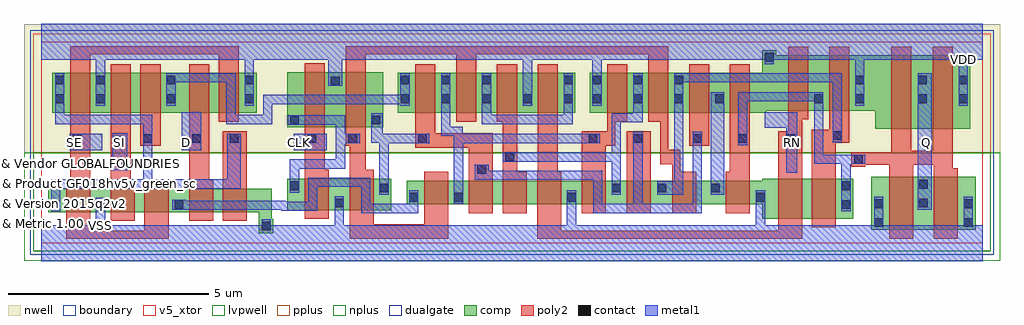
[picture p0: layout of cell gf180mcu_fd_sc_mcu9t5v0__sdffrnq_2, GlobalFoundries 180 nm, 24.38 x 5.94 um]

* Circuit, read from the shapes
.subckt gf180mcu_fd_sc_mcu9t5v0__sdffrnq_2 CLK D Q RN SE SI VDD VSS
XM1 VSS SE n1 VSUBS nfet_05v0 w=0.59u l=0.6u
XM2 n2 SI VSS VSUBS nfet_05v0 w=0.59u l=0.6u
XM3 n3 SE n2 VSUBS nfet_05v0 w=0.59u l=0.6u
XM4 n4 D n3 VSUBS nfet_05v0 w=0.59u l=0.6u
XM5 VSS n1 n4 VSUBS nfet_05v0 w=0.59u l=0.6u
XM6 VSS CLK n5 VSUBS nfet_05v0 w=0.79u l=0.6u
XM7 n6 n5 VSS VSUBS nfet_05v0 w=0.79u l=0.6u
XM8 n7 n5 n3 VSUBS nfet_05v0 w=0.59u l=0.6u
XM9 n8 n6 n7 VSUBS nfet_05v0 w=0.59u l=0.6u
XM10 n9 n10 n8 VSUBS nfet_05v0 w=0.59u l=0.6u
XM11 VSS RN n9 VSUBS nfet_05v0 w=0.59u l=0.6u
XM12 n10 n7 VSS VSUBS nfet_05v0 w=0.59u l=0.6u
XM13 n11 n6 n10 VSUBS nfet_05v0 w=0.59u l=0.6u
XM14 n12 n5 n11 VSUBS nfet_05v0 w=0.59u l=0.6u
XM15 VSS n13 n12 VSUBS nfet_05v0 w=0.59u l=0.6u
XM16 n14 RN VSS VSUBS nfet_05v0 w=1u l=0.6u
XM17 n13 n11 n14 VSUBS nfet_05v0 w=1u l=0.6u
XM18 Q n13 VSS VSUBS nfet_05v0 w=1.32u l=0.6u m=2
XM19 VDD SE n1 n15 pfet_05v0 w=1u l=0.5u
XM20 n16 SI VDD n15 pfet_05v0 w=1u l=0.5u
XM21 n17 n1 n16 n15 pfet_05v0 w=1u l=0.5u
XM22 n18 D n17 n15 pfet_05v0 w=1u l=0.5u
XM23 VDD SE n18 n15 pfet_05v0 w=1u l=0.5u
XM24 VDD CLK n5 n15 pfet_05v0 w=1.38u l=0.5u
XM25 n6 n5 VDD n15 pfet_05v0 w=1.38u l=0.5u
XM26 n7 n6 n17 n15 pfet_05v0 w=1u l=0.5u
XM27 n19 n5 n7 n15 pfet_05v0 w=1u l=0.5u
XM28 VDD n10 n19 n15 pfet_05v0 w=1u l=0.5u
XM29 n19 RN VDD n15 pfet_05v0 w=1u l=0.5u
XM30 n10 n7 VDD n15 pfet_05v0 w=1u l=0.5u
XM31 n11 n5 n10 n15 pfet_05v0 w=1u l=0.5u
XM32 n12 n6 n11 n15 pfet_05v0 w=1u l=0.5u
XM33 VDD n13 n12 n15 pfet_05v0 w=1u l=0.5u
XM34 n13 RN VDD n15 pfet_05v0 w=1.38u l=0.5u
XM35 VDD n11 n13 n15 pfet_05v0 w=1.38u l=0.5u
XM36 Q n13 VDD n15 pfet_05v0 w=1.83u l=0.5u m=2
.ends

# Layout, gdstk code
import gdstk
lib = gdstk.Library(unit=1e-6, precision=1e-09)
def R(c, l, rs):  # rectangles x0, y0, x1, y1
    for r in rs: c.add(gdstk.rectangle(r[:2], r[2:], *l))
def A(c, l, x, y, w, h, nx, ny, dx, dy):  # array of equal rectangles
    R(c, l, [(x+i*dx, y+j*dy, x+i*dx+w, y+j*dy+h) for i in range(nx) for j in range(ny)])
def P(c, l, *ps):  # polygons
    for p in ps: c.add(gdstk.Polygon(p, *l))
boundary = (0, 0)
nwell = (21, 0)
comp = (22, 0)
poly2 = (30, 0)
pplus = (31, 0)
nplus = (32, 0)
contact = (33, 0)
metal1 = (34, 0)
dualgate = (55, 0)
v5_xtor = (112, 1)
lvpwell = (204, 0)

gf180mcu_fd_sc_mcu9t5v0_ = lib.new_cell('gf180mcu_fd_sc_mcu9t5v0__sdffrnq_2')
R(gf180mcu_fd_sc_mcu9t5v0_, boundary, [(0,0,23.52,5.04)])
R(gf180mcu_fd_sc_mcu9t5v0_, nwell, [(-0.43,2.265,23.95,5.47)])
R(gf180mcu_fd_sc_mcu9t5v0_, comp, [(20.74,0.34,23.34,1.66), (6.145,0.83,8.745,1.62), (6.145,2.9,8.545,4.28), (0.28,3.26,5.38,4.26), (8.905,3.26,13.345,4.26)])
P(gf180mcu_fd_sc_mcu9t5v0_, comp, [(5.44,0.255),(5.44,0.78),(0.18,0.78),(0.18,1.37),(5.76,1.37),(5.76,0.61),(5.8,0.61),(5.8,0.255)],
  [(18.005,0.62),(18.005,0.975),(9.125,0.975),(9.125,1.565),(18.005,1.565),(18.005,1.62),(20.285,1.62),(20.285,0.62)],
  [(20.83,2.865),(20.83,3.315),(18.105,3.315),(18.105,3.26),(13.705,3.26),(13.705,4.26),(18.005,4.26),(18.005,4.83),(18.365,4.83),(18.365,4.695),(23.21,4.695),(23.21,2.865)])
R(gf180mcu_fd_sc_mcu9t5v0_, poly2, [(4.54,0.56,5.14,2.8), (14.625,0.755,15.225,2.8), (2.48,2.44,2.98,4.48), (16.185,2.44,16.685,4.48)])
P(gf180mcu_fd_sc_mcu9t5v0_, poly2, [(1.74,0.56),(1.74,4.48),(2.24,4.48),(2.24,1.59),(2.34,1.59),(2.34,0.56)],
  [(3.7,0.56),(3.7,4.48),(4.2,4.48),(4.2,1.59),(4.3,1.59),(4.3,0.56)],
  [(0.62,0.12),(0.62,1.59),(0.72,1.59),(0.72,4.92),(4.94,4.92),(4.94,3.04),(4.44,3.04),(4.44,4.72),(1.22,4.72),(1.22,0.32),(2.58,0.32),(2.58,1.59),(3.18,1.59),(3.18,0.12)],
  [(6.585,0.61),(6.585,4.5),(7.085,4.5),(7.085,1.84),(7.185,1.84),(7.185,0.61)],
  [(10.685,0.755),(10.685,2.39),(9.345,2.39),(9.345,4.48),(9.845,4.48),(9.845,2.75),(11.285,2.75),(11.285,0.755)],
  [(11.525,0.755),(11.525,3.04),(11.385,3.04),(11.385,4.48),(11.885,4.48),(11.885,1.785),(12.125,1.785),(12.125,0.755)],
  [(13.505,0.755),(13.505,2.8),(14.145,2.8),(14.145,4.48),(14.645,4.48),(14.645,3.04),(14.345,3.04),(14.345,2.44),(14.105,2.44),(14.105,0.755)],
  [(7.705,0.12),(7.705,2.44),(7.605,2.44),(7.605,4.92),(15.665,4.92),(15.665,2.34),(15.965,2.34),(15.965,1.785),(16.365,1.785),(16.365,0.755),(15.765,0.755),(15.765,1.98),(15.465,1.98),(15.465,3.04),(15.165,3.04),(15.165,4.72),(10.865,4.72),(10.865,3.04),(10.365,3.04),(10.365,4.72),(8.105,4.72),(8.105,1.84),(8.305,1.84),(8.305,0.48),(9.565,0.48),(9.565,1.785),(10.165,1.785),(10.165,0.12)],
  [(17.105,0.755),(17.105,1.785),(17.205,1.785),(17.205,4.48),(17.705,4.48),(17.705,0.755)],
  [(12.385,0.12),(12.385,1.785),(12.405,1.785),(12.405,4.48),(12.905,4.48),(12.905,1.785),(12.985,1.785),(12.985,0.32),(18.405,0.32),(18.405,2.8),(18.665,2.8),(18.665,4.915),(19.165,4.915),(19.165,3.095),(19.005,3.095),(19.005,0.12)],
  [(19.245,0.4),(19.245,2.84),(19.685,2.84),(19.685,4.915),(20.185,4.915),(20.185,2.515),(19.845,2.515),(19.845,0.4)],
  [(21.18,0.12),(21.18,1.96),(20.59,1.96),(20.59,1.92),(20.235,1.92),(20.235,2.28),(21.23,2.28),(21.23,4.915),(21.73,4.915),(21.73,2.32),(22.27,2.32),(22.27,4.915),(22.77,4.915),(22.77,1.88),(22.9,1.88),(22.9,0.12),(22.3,0.12),(22.3,1.96),(21.78,1.96),(21.78,0.12)])
R(gf180mcu_fd_sc_mcu9t5v0_, pplus, [(-0.2,2.265,23.72,5.24)])
R(gf180mcu_fd_sc_mcu9t5v0_, nplus, [(-0.2,-0.2,23.72,2.265)])
A(gf180mcu_fd_sc_mcu9t5v0_, contact, 8.975, 3.5, 0.22, 0.22, 5, 1, 1.02, 0)
A(gf180mcu_fd_sc_mcu9t5v0_, contact, 13.775, 3.5, 0.22, 0.22, 4, 1, 1.02, 0)
A(gf180mcu_fd_sc_mcu9t5v0_, contact, 8.975, 3.97, 0.22, 0.22, 3, 1, 1.02, 0)
A(gf180mcu_fd_sc_mcu9t5v0_, contact, 13.775, 3.97, 0.22, 0.22, 3, 1, 1.02, 0)
R(gf180mcu_fd_sc_mcu9t5v0_, contact, [(5.51,0.325,5.73,0.545), (20.81,0.41,21.03,0.63), (23.05,0.41,23.27,0.63), (0.25,0.86,0.47,1.08), (1.37,0.86,1.59,1.08), (3.33,0.86,3.55,1.08), (19.995,0.86,20.215,1.08), (20.81,0.88,21.03,1.1), (23.05,0.88,23.27,1.1), (7.335,0.9,7.555,1.12), (21.93,0.9,22.15,1.12), (9.195,1.045,9.415,1.265), (10.315,1.045,10.535,1.265), (13.135,1.045,13.355,1.265), (17.855,1.045,18.075,1.265), (8.455,1.275,8.675,1.495), (14.255,1.275,14.475,1.495), (15.395,1.275,15.615,1.495), (16.735,1.275,16.955,1.495), (6.215,1.33,6.435,1.55), (19.995,1.33,20.215,1.55), (21.93,1.37,22.15,1.59), (10.895,1.735,11.115,1.955), (20.305,1.99,20.525,2.21), (11.595,2.05,11.815,2.27), (1.81,2.47,2.03,2.69), (0.79,2.51,1.01,2.73), (2.55,2.51,2.77,2.73), (3.77,2.51,3.99,2.73), (4.71,2.51,4.93,2.73), (6.655,2.51,6.875,2.73), (7.675,2.51,7.895,2.73), (9.415,2.51,9.635,2.73), (13.675,2.51,13.895,2.73), (14.795,2.51,15.015,2.73), (16.275,2.51,16.495,2.73), (17.415,2.51,17.635,2.73), (18.615,2.51,18.835,2.73), (19.775,2.585,19.995,2.805), (6.215,2.97,6.435,3.19), (8.255,2.97,8.475,3.19), (0.35,3.5,0.57,3.72), (1.37,3.5,1.59,3.72), (3.13,3.5,3.35,3.72), (5.09,3.5,5.31,3.72), (19.315,3.5,19.535,3.72), (20.335,3.5,20.555,3.72), (21.9,3.5,22.12,3.72), (22.92,3.5,23.14,3.72), (7.235,3.945,7.455,4.165), (0.35,3.97,0.57,4.19), (1.37,3.97,1.59,4.19), (3.13,3.97,3.35,4.19), (5.09,3.97,5.31,4.19), (13.055,3.97,13.275,4.19), (20.335,3.97,20.555,4.19), (21.9,3.97,22.12,4.19), (22.92,3.97,23.14,4.19), (18.075,4.54,18.295,4.76)])
R(gf180mcu_fd_sc_mcu9t5v0_, metal1, [(21.895,0.84,22.25,4.25), (16.73,1.215,17.06,3.78), (1.77,1.83,2.15,2.75), (0.71,2.33,1.53,2.735), (3.51,2.33,3.995,3.27), (6.31,2.33,7.13,2.735)])
P(gf180mcu_fd_sc_mcu9t5v0_, metal1, [(0.245,0.8),(0.245,1.6),(2.545,1.6),(2.545,2.98),(0.345,2.98),(0.345,4.25),(0.575,4.25),(0.575,3.21),(2.775,3.21),(2.775,1.6),(4.65,1.6),(4.65,2.735),(4.99,2.735),(4.99,1.37),(0.475,1.37),(0.475,0.8)],
  [(6.21,1.27),(6.21,2.1),(7.36,2.1),(7.36,2.965),(6.155,2.965),(6.155,3.195),(7.59,3.195),(7.59,2.735),(7.955,2.735),(7.955,2.505),(7.59,2.505),(7.59,1.87),(6.44,1.87),(6.44,1.27)],
  [(4.625,2.98),(4.625,4.02),(3.355,4.02),(3.355,3.44),(3.125,3.44),(3.125,4.25),(4.855,4.25),(4.855,3.21),(5.545,3.21),(5.545,3.71),(8.97,3.71),(8.97,4.25),(9.2,4.25),(9.2,3.44),(8.97,3.44),(8.97,3.48),(5.775,3.48),(5.775,2.98)],
  [(7.99,0.755),(7.99,1.41),(6.9,1.41),(6.9,0.81),(6,0.81),(6,0.835),(3.27,0.835),(3.27,1.085),(3.61,1.085),(3.61,1.065),(6.105,1.065),(6.105,1.04),(6.67,1.04),(6.67,1.64),(8.22,1.64),(8.22,0.985),(9.19,0.985),(9.19,1.325),(9.42,1.325),(9.42,0.755)],
  [(8.45,1.215),(8.45,2.52),(8.25,2.52),(8.25,3.25),(8.535,3.25),(8.535,2.735),(9.695,2.735),(9.695,2.505),(8.68,2.505),(8.68,1.215)],
  [(11.01,2.98),(11.01,4.25),(11.24,4.25),(11.24,3.21),(13.05,3.21),(13.05,4.25),(13.28,4.25),(13.28,2.98)],
  [(10.31,0.985),(10.31,2.685),(9.99,2.685),(9.99,4.25),(10.22,4.25),(10.22,2.915),(10.535,2.915),(10.535,2.735),(13.955,2.735),(13.955,2.505),(10.54,2.505),(10.54,0.985)],
  [(14.25,1.215),(14.25,2.045),(11.535,2.045),(11.535,2.275),(14.25,2.275),(14.25,3.25),(14.79,3.25),(14.79,4.25),(15.02,4.25),(15.02,3.02),(14.48,3.02),(14.48,1.215)],
  [(13.79,0.755),(13.79,1.585),(10.835,1.585),(10.835,1.96),(11.175,1.96),(11.175,1.815),(14.02,1.815),(14.02,0.985),(14.79,0.985),(14.79,2.79),(15.02,2.79),(15.02,0.985),(16.27,0.985),(16.27,2.79),(16.5,2.79),(16.5,0.755)],
  [(18.61,1.77),(18.61,2.89),(18.07,2.89),(18.07,3.27),(18.89,3.27),(18.89,1.77)],
  [(15.39,1.215),(15.39,1.555),(15.81,1.555),(15.81,4.25),(20,4.25),(20,2.525),(19.77,2.525),(19.77,4.02),(16.04,4.02),(16.04,1.215)],
  [(19.99,0.8),(19.99,1.985),(19.31,1.985),(19.31,3.55),(17.64,3.55),(17.64,2.45),(17.41,2.45),(17.41,3.78),(19.54,3.78),(19.54,2.215),(20.585,2.215),(20.585,1.985),(20.22,1.985),(20.22,0.8)],
  [(0,-0.45),(0,0.45),(1.365,0.45),(1.365,1.14),(1.595,1.14),(1.595,0.45),(5.505,0.45),(5.505,0.605),(5.735,0.605),(5.735,0.45),(7.33,0.45),(7.33,1.18),(7.56,1.18),(7.56,0.45),(13.13,0.45),(13.13,1.325),(13.36,1.325),(13.36,0.45),(17.85,0.45),(17.85,1.325),(18.08,1.325),(18.08,0.45),(20.805,0.45),(20.805,1.16),(21.035,1.16),(21.035,0.45),(23.045,0.45),(23.045,1.16),(23.275,1.16),(23.275,0.45),(23.52,0.45),(23.52,-0.45)],
  [(1.365,3.44),(1.365,4.59),(0,4.59),(0,5.49),(23.52,5.49),(23.52,4.59),(23.145,4.59),(23.145,3.44),(22.915,3.44),(22.915,4.59),(20.56,4.59),(20.56,3.44),(20.33,3.44),(20.33,4.59),(18.3,4.59),(18.3,4.48),(18.07,4.48),(18.07,4.59),(14,4.59),(14,3.44),(13.77,3.44),(13.77,4.59),(12.26,4.59),(12.26,3.44),(12.03,3.44),(12.03,4.59),(7.515,4.59),(7.515,3.94),(7.175,3.94),(7.175,4.59),(5.315,4.59),(5.315,3.44),(5.085,3.44),(5.085,4.59),(1.595,4.59),(1.595,3.44)])
R(gf180mcu_fd_sc_mcu9t5v0_, dualgate, [(-0.28,-0.28,23.8,5.32)])
R(gf180mcu_fd_sc_mcu9t5v0_, v5_xtor, [(0,0,23.52,5.04)])
R(gf180mcu_fd_sc_mcu9t5v0_, lvpwell, [(-0.43,-0.43,23.95,2.265)])
gf180mcu_fd_sc_mcu9t5v0_.add(gdstk.Label('CLK', (6.44,2.52), layer=34, texttype=10))
gf180mcu_fd_sc_mcu9t5v0_.add(gdstk.Label('D', (3.64,2.52), layer=34, texttype=10))
gf180mcu_fd_sc_mcu9t5v0_.add(gdstk.Label('Q', (22.12,2.52), layer=34, texttype=10))
gf180mcu_fd_sc_mcu9t5v0_.add(gdstk.Label('RN', (18.76,2.52), layer=34, texttype=10))
gf180mcu_fd_sc_mcu9t5v0_.add(gdstk.Label('SE', (0.84,2.52), layer=34, texttype=10))
gf180mcu_fd_sc_mcu9t5v0_.add(gdstk.Label('SI', (1.96,2.52), layer=34, texttype=10))
gf180mcu_fd_sc_mcu9t5v0_.add(gdstk.Label('VDD', (23.03,4.59), layer=34, texttype=10))
gf180mcu_fd_sc_mcu9t5v0_.add(gdstk.Label('VSS', (1.48,0.45), layer=34, texttype=10))
gf180mcu_fd_sc_mcu9t5v0_.add(gdstk.Label('& Vendor GLOBALFOUNDRIES', (0,2), layer=63, texttype=63))
gf180mcu_fd_sc_mcu9t5v0_.add(gdstk.Label('& Product GF018hv5v_green_sc9', (0,1.5), layer=63, texttype=63))
gf180mcu_fd_sc_mcu9t5v0_.add(gdstk.Label('& Version 2015q2v2', (0,1), layer=63, texttype=63))
gf180mcu_fd_sc_mcu9t5v0_.add(gdstk.Label('& Metric 1.00', (0,0.5), layer=63, texttype=63))

lib.write_gds('gf180mcu_fd_sc_mcu9t5v0__sdffrnq_2.gds')
